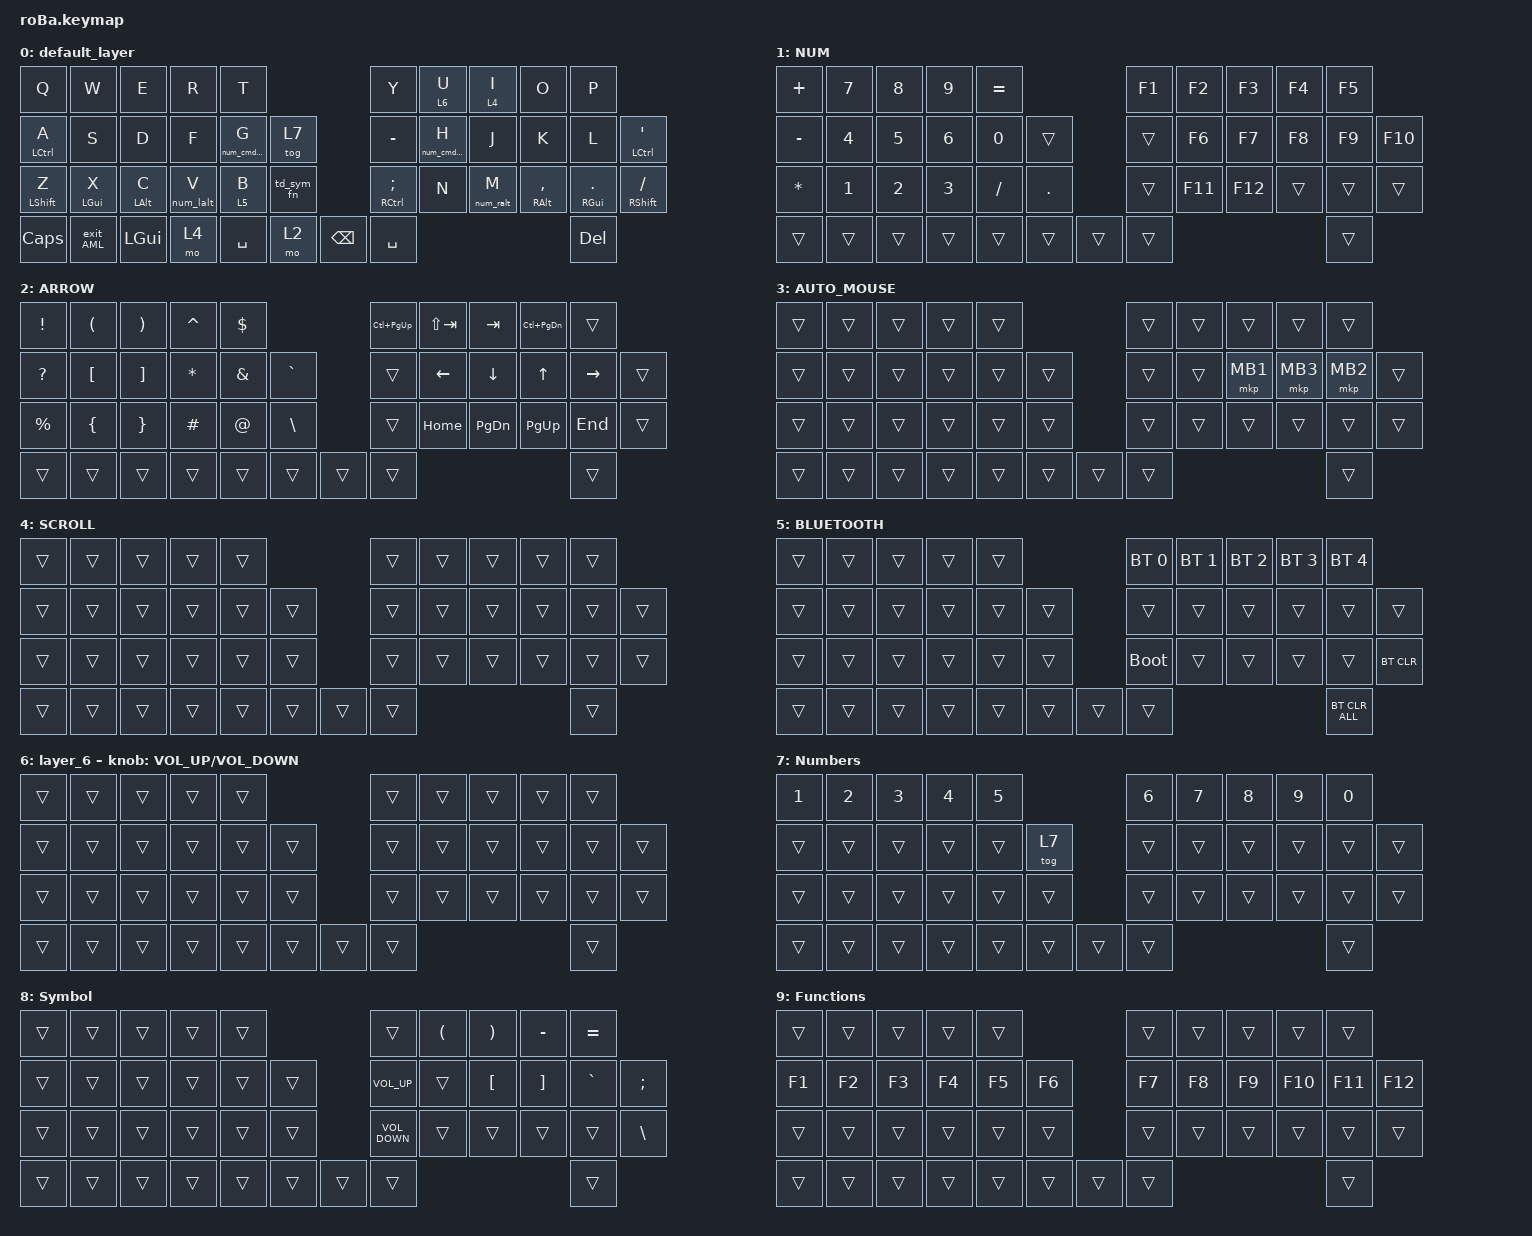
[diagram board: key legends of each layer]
#include <input/processors.dtsi>
#include <behaviors.dtsi>
#include <dt-bindings/zmk/bt.h>
#include <dt-bindings/zmk/keys.h>
#include <dt-bindings/zmk/pointing.h>

#define MOUSE 3

// マウスキーを押したらタイムアウトを10秒間延長する
// ※ 3 は AutoMouseLayer

&mkp_input_listener { input-processors = <&zip_temp_layer 3 10000>; };

&mt {
    flavor = "balanced";
    quick-tap-ms = <0>;
};

&trackball {
    // マウス層は zip_temp_layer のみ（automouse-layer は require-prior-idle と併用不可）

    scroll-layers = <4>;

    // arrows {
    //     layers = <3>;
    //     bindings =
    //         <&kp RIGHT_ARROW>,
    //         <&kp LEFT_ARROW>,
    //         <&kp UP_ARROW>,
    //         <&kp DOWN_ARROW>;
    //     tick = <10>;
    //     wait-ms = <5>;
    //     tap-ms = <5>;
    // };
};

/ {
    combos {
        compatible = "zmk,combos";

        combo_esc {
            timeout-ms = <50>;
            key-positions = <0 1>;        // Q + W
            bindings = <&kp ESC>;
        };

        combo_backspace {
            timeout-ms = <50>;
            key-positions = <8 9>;        // O + P
            bindings = <&kp BACKSPACE>;
        };

        combo_enter {
            timeout-ms = <50>;
            key-positions = <20 21>;      // L + '
            bindings = <&kp ENTER>;
        };

        combo_tab {
            timeout-ms = <50>;
            key-positions = <10 11>;      // A + S
            bindings = <&kp TAB>;
        };
    };

    macros {
        to_layer_0: to_layer_0 {
            compatible = "zmk,behavior-macro-one-param";
            #binding-cells = <1>;
            bindings = <&to 0 &macro_param_1to1 &kp MACRO_PLACEHOLDER>;
            label = "TO_LAYER_0";
        };

        exit_AML: exit_AML {
            compatible = "zmk,behavior-macro";
            wait-ms = <0>;
            tap-ms = <0>;
            #binding-cells = <0>;
            bindings = <&tog_off 3>;
            label = "exit_AML";
        };

        kp_exit_AML: kp_exit_AML {
            compatible = "zmk,behavior-macro-one-param";
            wait-ms = <0>;
            tap-ms = <0>;
            #binding-cells = <1>;
            bindings = <&macro_param_1to1 &kp MACRO_PLACEHOLDER &exit_AML>;
            label = "KP_exit_AML";
        };

        // 英数化してから ESC:
        // - macOS: LANG2 = 英数（IME オフ相当）
        // - Windows: MS IME でも LANG2 = ImeOff（半角英数）: Keyboard Japan - ImeOn / ImeOff Implementation
        // - Windows で「英字（US）キーボード」設定のとき LANG2 だけ届かないことがあるため、その補助として
        //   F22 を続けて送る。MS 系 IME の「キーとタッチのカスタマイズ」で F22 に「IME オフ」等を割り当てる。
        //   未割当の F22 は大抵無視される。macOS で F22 が邪魔なら F キーを差し替え、または LANG2 のみに戻す。

        esc_eisu: esc_eisu {
            compatible = "zmk,behavior-macro";
            #binding-cells = <0>;
            label = "ESC_EISU";
            wait-ms = <10>;
            tap-ms = <5>;
            bindings = <&kp LANG2 &kp F22 &kp ESC>;
        };

        // ホールド中: Cmd + Alt を押しっぱなしにして Numbers層(7)を有効化、離すと全て解除
        num_cmd_alt: num_cmd_alt {
            compatible = "zmk,behavior-macro-one-param";
            #binding-cells = <1>;
            label = "NUM_CMD_ALT";
            bindings
                = <&macro_press &kp LGUI &kp LALT &mo 7>
                , <&macro_pause_for_release>
                , <&macro_release &kp LGUI &kp LALT &mo 7>;
        };

        // ホールド中: Left Alt を押しっぱなしにして Numbers層(7)を有効化、離すと解除
        num_lalt: num_lalt {
            compatible = "zmk,behavior-macro-one-param";
            #binding-cells = <1>;
            label = "NUM_LALT";
            bindings
                = <&macro_press &kp LALT &mo 7>
                , <&macro_pause_for_release>
                , <&macro_release &kp LALT &mo 7>;
        };

        // ホールド中: Right Alt を押しっぱなしにして Numbers層(7)を有効化、離すと解除
        num_ralt: num_ralt {
            compatible = "zmk,behavior-macro-one-param";
            #binding-cells = <1>;
            label = "NUM_RALT";
            bindings
                = <&macro_press &kp RALT &mo 7>
                , <&macro_pause_for_release>
                , <&macro_release &kp RALT &mo 7>;
        };
    };

    behaviors {
        lt_to_layer_0: lt_to_layer_0 {
            compatible = "zmk,behavior-hold-tap";
            label = "LAYER_TAP_TO_0";
            bindings = <&mo>, <&to_layer_0>;

            #binding-cells = <2>;
            tapping-term-ms = <200>;
        };

        tog_off: toggle_layer_off {
            compatible = "zmk,behavior-toggle-layer";
            #binding-cells = <1>;
            display-name = "Toggle Layer Off";
            toggle-mode = "off";
        };

        mt_exit_AML_on_tap: mt_exit_AML_on_tap {
            compatible = "zmk,behavior-hold-tap";
            label = "MT_exit_AML_ON_TAP";
            bindings = <&kp>, <&kp_exit_AML>;

            #binding-cells = <2>;
            tapping-term-ms = <200>;
            flavor = "balanced";
            quick-tap-ms = <200>;
        };

        // 1タップ(ホールド): Symbol層(mo 8) / 2タップ: Functions層トグル(tog 9)
        td_sym_fn: td_sym_fn {
            compatible = "zmk,behavior-tap-dance";
            label = "TD_SYM_FN";
            #binding-cells = <0>;
            tapping-term-ms = <200>;
            bindings = <&mo 8>, <&tog 9>;
        };

        // タップ: , / ホールド: Numbers層 + Cmd + Alt
        ht_num_cmd_alt: ht_num_cmd_alt {
            compatible = "zmk,behavior-hold-tap";
            label = "HT_NUM_CMD_ALT";
            bindings = <&num_cmd_alt>, <&kp>;
            #binding-cells = <2>;
            flavor = "balanced";
            tapping-term-ms = <200>;
            quick-tap-ms = <0>;
        };

        // タップ: キー / ホールド: Numbers層 + Left Alt
        ht_num_lalt: ht_num_lalt {
            compatible = "zmk,behavior-hold-tap";
            label = "HT_NUM_LALT";
            bindings = <&num_lalt>, <&kp>;
            #binding-cells = <2>;
            flavor = "balanced";
            tapping-term-ms = <200>;
            quick-tap-ms = <0>;
        };

        // タップ: キー / ホールド: Numbers層 + Right Alt
        ht_num_ralt: ht_num_ralt {
            compatible = "zmk,behavior-hold-tap";
            label = "HT_NUM_RALT";
            bindings = <&num_ralt>, <&kp>;
            #binding-cells = <2>;
            flavor = "balanced";
            tapping-term-ms = <200>;
            quick-tap-ms = <0>;
        };
    };

    keymap {
        compatible = "zmk,keymap";

        default_layer {
            bindings = <
&kp Q         &kp W         &kp E         &kp R                           &kp T                                                  &kp Y                &lt 6 U     &lt 4 I    &kp O    &kp P
&mt LCTRL A   &kp S         &kp D         &kp F                           &ht_num_cmd_alt 0 G  &tog 7                       &kp MINUS        &ht_num_cmd_alt 0 H  &kp J       &kp K      &kp L         &mt LCTRL SQT
&mt LSHIFT Z  &mt LGUI X    &mt LALT C    &ht_num_lalt 0 V                &lt 5 B    &td_sym_fn                   &mt RCTRL SEMICOLON  &kp N                &ht_num_ralt 0 M  &mt RALT COMMA  &mt RGUI DOT  &mt RSHIFT SLASH
&kp CAPS      &exit_AML     &kp LEFT_GUI  &mo 4                           &kp SPACE  &mo 2                        &kp BACKSPACE    &kp SPACE                                            &kp DEL
            >;
        };

        NUM {
            bindings = <
&kp PLUS      &kp N7  &kp N8  &kp N9  &kp EQUAL                       &kp F1   &kp F2   &kp F3  &kp F4  &kp F5
&kp MINUS     &kp N4  &kp N5  &kp N6  &kp N0     &trans       &trans  &kp F6   &kp F7   &kp F8  &kp F9  &kp F10
&kp ASTERISK  &kp N1  &kp N2  &kp N3  &kp SLASH  &kp DOT      &trans  &kp F11  &kp F12  &trans  &trans  &trans
&trans        &trans  &trans  &trans  &trans     &trans       &trans  &trans                            &trans
            >;
        };

        ARROW {
            bindings = <
&kp EXCLAMATION  &kp LEFT_PARENTHESIS  &kp RIGHT_PARENTHESIS  &kp CARET     &kp DOLLAR                                &kp LC(PAGE_UP)  &kp LS(TAB)     &kp TAB       &kp LC(PAGE_DOWN)  &trans
&kp QUESTION     &kp LEFT_BRACKET      &kp RIGHT_BRACKET      &kp ASTERISK  &kp AMPERSAND  &kp GRAVE          &trans  &kp LEFT         &kp DOWN_ARROW  &kp UP_ARROW  &kp RIGHT_ARROW    &trans
&kp PERCENT      &kp LEFT_BRACE        &kp RIGHT_BRACE        &kp HASH      &kp AT_SIGN    &kp BACKSLASH      &trans  &kp HOME         &kp PAGE_DOWN   &kp PAGE_UP   &kp END            &trans
&trans           &trans                &trans                 &trans        &trans         &trans             &trans  &trans                                                            &trans
            >;
        };

        AUTO_MOUSE {
            bindings = <
&trans  &trans  &trans  &trans  &trans                      &trans  &trans    &trans    &trans    &trans
&trans  &trans  &trans  &trans  &trans  &trans      &trans  &trans  &mkp MB1  &mkp MB3  &mkp MB2  &trans
&trans  &trans  &trans  &trans  &trans  &trans      &trans  &trans  &trans    &trans    &trans    &trans
&trans  &trans  &trans  &trans  &trans  &trans      &trans  &trans                                &trans
            >;
        };

        SCROLL {
            bindings = <
&trans  &trans  &trans  &trans  &trans                      &trans  &trans  &trans  &trans  &trans
&trans  &trans  &trans  &trans  &trans  &trans      &trans  &trans  &trans  &trans  &trans  &trans
&trans  &trans  &trans  &trans  &trans  &trans      &trans  &trans  &trans  &trans  &trans  &trans
&trans  &trans  &trans  &trans  &trans  &trans      &trans  &trans                          &trans
            >;
        };

        BLUETOOTH {
            bindings = <
&trans  &trans  &trans  &trans  &trans                           &bt BT_SEL 0  &bt BT_SEL 1  &bt BT_SEL 2  &bt BT_SEL 3  &bt BT_SEL 4
&trans  &trans  &trans  &trans  &trans  &trans      &trans       &trans        &trans        &trans        &trans        &trans
&trans  &trans  &trans  &trans  &trans  &trans      &bootloader  &trans        &trans        &trans        &trans        &bt BT_CLR
&trans  &trans  &trans  &trans  &trans  &trans      &trans       &trans                                                  &bt BT_CLR_ALL
            >;
        };

        layer_6 {
            bindings = <
&trans  &trans  &trans  &trans  &trans                      &trans  &trans  &trans  &trans  &trans
&trans  &trans  &trans  &trans  &trans  &trans      &trans  &trans  &trans  &trans  &trans  &trans
&trans  &trans  &trans  &trans  &trans  &trans      &trans  &trans  &trans  &trans  &trans  &trans
&trans  &trans  &trans  &trans  &trans  &trans      &trans  &trans                          &trans
            >;

            sensor-bindings = <&inc_dec_kp K_VOLUME_UP C_VOLUME_DOWN>;
        };

        Numbers {
            bindings = <
&kp N1  &kp N2  &kp N3  &kp N4  &kp N5                  &kp N6  &kp N7  &kp N8  &kp N9  &kp N0
&trans  &trans  &trans  &trans  &trans  &tog 7  &trans  &trans  &trans  &trans  &trans  &trans
&trans  &trans  &trans  &trans  &trans  &trans  &trans  &trans  &trans  &trans  &trans  &trans
&trans  &trans  &trans  &trans  &trans  &trans  &trans  &trans                          &trans
            >;
        };

        Symbol {
            bindings = <
&trans  &trans  &trans  &trans  &trans                  &trans  &kp LPAR  &kp RPAR  &kp MINUS  &kp EQUAL
&trans  &trans  &trans  &trans  &trans  &trans  &kp C_VOLUME_UP  &trans  &kp LBKT  &kp RBKT  &kp GRAVE  &kp SEMICOLON
&trans  &trans  &trans  &trans  &trans  &trans  &kp C_VOLUME_DOWN  &trans  &trans    &trans    &trans     &kp BSLH
&trans  &trans    &trans  &trans  &trans  &trans  &trans  &trans                                 &trans
            >;
        };

        Functions {
            bindings = <
&trans  &trans  &trans  &trans  &trans                  &trans  &trans  &trans  &trans   &trans
&kp F1  &kp F2  &kp F3  &kp F4  &kp F5  &kp F6  &kp F7  &kp F8  &kp F9  &kp F10  &kp F11  &kp F12
&trans  &trans  &trans  &trans  &trans  &trans  &trans  &trans  &trans  &trans   &trans   &trans
&trans  &trans  &trans  &trans  &trans  &trans  &trans  &trans                            &trans
            >;
        };
    };
};
